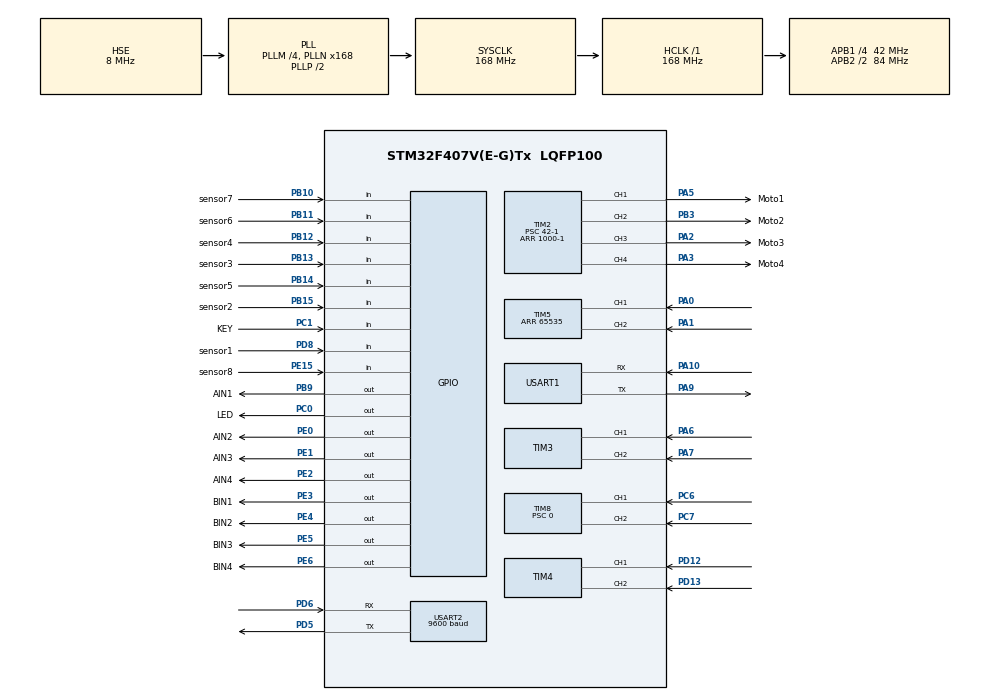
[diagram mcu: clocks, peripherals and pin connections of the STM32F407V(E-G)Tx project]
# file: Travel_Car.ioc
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Mcu.Family=STM32F4
Mcu.Name=STM32F407V(E-G)Tx
Mcu.Package=LQFP100
NVIC.PriorityGroup=NVIC_PRIORITYGROUP_4
NVIC.TIM1_TRG_COM_TIM11_IRQn=true\:2\:0\:true\:false\:true\:true\:true
NVIC.TIM1_UP_TIM10_IRQn=true\:2\:0\:true\:false\:true\:true\:true
NVIC.TIM2_IRQn=true\:2\:0\:true\:false\:true\:true\:true
NVIC.TIM3_IRQn=true\:2\:0\:true\:false\:true\:true\:true
NVIC.TIM4_IRQn=true\:2\:0\:true\:false\:true\:true\:true
NVIC.TIM5_IRQn=true\:2\:0\:true\:false\:true\:true\:true
NVIC.TIM8_UP_TIM13_IRQn=true\:2\:0\:true\:false\:true\:true\:true
NVIC.USART1_IRQn=true\:2\:0\:true\:false\:true\:true\:true
NVIC.USART2_IRQn=true\:0\:0\:false\:false\:true\:true\:true
PA0-WKUP.Signal=S_TIM5_CH1
PA1.Signal=S_TIM5_CH2
PA10.Mode=Asynchronous
PA10.Signal=USART1_RX
PA13.Mode=Serial_Wire
PA13.Signal=SYS_JTMS-SWDIO
PA14.Mode=Serial_Wire
PA14.Signal=SYS_JTCK-SWCLK
PA2.GPIO_Label=Moto3
PA2.Signal=S_TIM2_CH3
PA3.GPIO_Label=Moto4
PA3.Signal=S_TIM2_CH4
PA5.GPIO_Label=Moto1
PA5.Signal=S_TIM2_CH1_ETR
PA6.Signal=S_TIM3_CH1
PA7.Signal=S_TIM3_CH2
PA9.Mode=Asynchronous
PA9.Signal=USART1_TX
PB10.GPIO_Label=sensor7
PB10.Signal=GPIO_Input
PB11.GPIO_Label=sensor6
PB11.Signal=GPIO_Input
PB12.GPIO_Label=sensor4
PB12.Signal=GPIO_Input
PB13.GPIO_Label=sensor3
PB13.Signal=GPIO_Input
PB14.GPIO_Label=sensor5
PB14.Signal=GPIO_Input
PB15.GPIO_Label=sensor2
PB15.Signal=GPIO_Input
PB3.GPIO_Label=Moto2
PB3.Signal=S_TIM2_CH2
PB9.GPIO_Label=AIN1
PB9.Signal=GPIO_Output
PC0.GPIO_Label=LED
PC0.Signal=GPIO_Output
PC1.GPIO_Label=KEY
PC1.GPIO_PuPd=GPIO_PULLUP
PC1.Signal=GPIO_Input
PC6.Signal=S_TIM8_CH1
PC7.Signal=S_TIM8_CH2
PD12.Signal=S_TIM4_CH1
PD13.Signal=S_TIM4_CH2
PD5.Mode=Asynchronous
PD5.Signal=USART2_TX
PD6.Mode=Asynchronous
PD6.Signal=USART2_RX
PD8.GPIO_Label=sensor1
PD8.Signal=GPIO_Input
PE0.GPIO_Label=AIN2
PE0.Signal=GPIO_Output
PE1.GPIO_Label=AIN3
PE1.Signal=GPIO_Output
PE15.GPIO_Label=sensor8
PE15.Signal=GPIO_Input
PE2.GPIO_Label=AIN4
PE2.Signal=GPIO_Output
PE3.GPIO_Label=BIN1
PE3.Signal=GPIO_Output
PE4.GPIO_Label=BIN2
PE4.Signal=GPIO_Output
PE5.GPIO_Label=BIN3
PE5.Signal=GPIO_Output
PE6.GPIO_Label=BIN4
PE6.Signal=GPIO_Output
PH0-OSC_IN.Mode=HSE-External-Oscillator
PH0-OSC_IN.Signal=RCC_OSC_IN
PH1-OSC_OUT.Mode=HSE-External-Oscillator
PH1-OSC_OUT.Signal=RCC_OSC_OUT
ProjectManager.HeapSize=0x200
ProjectManager.StackSize=0x400
ProjectManager.TargetToolchain=MDK-ARM V5.27
RCC.48MHZClocksFreq_Value=84000000
RCC.AHBFreq_Value=168000000
RCC.APB1CLKDivider=RCC_HCLK_DIV4
RCC.APB1Freq_Value=42000000
RCC.APB1TimFreq_Value=84000000
RCC.APB2CLKDivider=RCC_HCLK_DIV2
RCC.APB2Freq_Value=84000000
RCC.APB2TimFreq_Value=168000000
RCC.CortexFreq_Value=168000000
RCC.HCLKFreq_Value=168000000
RCC.HSE_VALUE=8000000
RCC.HSI_VALUE=16000000
RCC.LSE_VALUE=32768
RCC.PLLM=4
RCC.PLLN=168
RCC.PLLSourceVirtual=RCC_PLLSOURCE_HSE
RCC.SYSCLKFreq_VALUE=168000000
RCC.SYSCLKSource=RCC_SYSCLKSOURCE_PLLCLK
RCC.VCOOutputFreq_Value=336000000
SH.S_TIM2_CH1_ETR.0=TIM2_CH1,PWM Generation1 CH1
SH.S_TIM2_CH2.0=TIM2_CH2,PWM Generation2 CH2
SH.S_TIM2_CH3.0=TIM2_CH3,PWM Generation3 CH3
SH.S_TIM2_CH4.0=TIM2_CH4,PWM Generation4 CH4
SH.S_TIM3_CH1.0=TIM3_CH1,Encoder_Interface
SH.S_TIM3_CH2.0=TIM3_CH2,Encoder_Interface
SH.S_TIM4_CH1.0=TIM4_CH1,Encoder_Interface
SH.S_TIM4_CH2.0=TIM4_CH2,Encoder_Interface
SH.S_TIM5_CH1.0=TIM5_CH1,Encoder_Interface
SH.S_TIM5_CH2.0=TIM5_CH2,Encoder_Interface
SH.S_TIM8_CH1.0=TIM8_CH1,Encoder_Interface
SH.S_TIM8_CH2.0=TIM8_CH2,Encoder_Interface
TIM10.AutoReloadPreload=TIM_AUTORELOAD_PRELOAD_ENABLE
TIM10.Period=100-1
TIM10.Prescaler=168-1
TIM11.AutoReloadPreload=TIM_AUTORELOAD_PRELOAD_ENABLE
TIM11.Period=100-1
TIM11.Prescaler=168-1
TIM2.AutoReloadPreload=TIM_AUTORELOAD_PRELOAD_ENABLE
TIM2.Channel-PWM\ Generation1\ CH1=TIM_CHANNEL_1
TIM2.Channel-PWM\ Generation2\ CH2=TIM_CHANNEL_2
TIM2.Channel-PWM\ Generation3\ CH3=TIM_CHANNEL_3
TIM2.Channel-PWM\ Generation4\ CH4=TIM_CHANNEL_4
TIM2.Period=1000-1
TIM2.Prescaler=42-1
TIM3.AutoReloadPreload=TIM_AUTORELOAD_PRELOAD_ENABLE
TIM3.EncoderMode=TIM_ENCODERMODE_TI12
TIM4.AutoReloadPreload=TIM_AUTORELOAD_PRELOAD_ENABLE
TIM4.EncoderMode=TIM_ENCODERMODE_TI12
TIM5.AutoReloadPreload=TIM_AUTORELOAD_PRELOAD_ENABLE
TIM5.EncoderMode=TIM_ENCODERMODE_TI12
TIM5.Period=65535
TIM8.AutoReloadPreload=TIM_AUTORELOAD_PRELOAD_ENABLE
TIM8.EncoderMode=TIM_ENCODERMODE_TI12
TIM8.Period=65535
TIM8.Prescaler=0
USART1.VirtualMode=VM_ASYNC
USART2.BaudRate=9600
USART2.VirtualMode=VM_ASYNC
VP_TIM10_VS_ClockSourceINT.Mode=Enable_Timer
VP_TIM11_VS_ClockSourceINT.Mode=Enable_Timer
VP_TIM2_VS_ClockSourceINT.Mode=Internal
board=custom

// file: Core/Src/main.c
/* USER CODE BEGIN Header */
/**
  ******************************************************************************
  * @file           : main.c
  * @brief          : Main program body
  ******************************************************************************
  * @attention
  *
  * <h2><center>&copy; Copyright (c) 2020 STMicroelectronics.
  * All rights reserved.</center></h2>
  *
  * This software component is licensed by ST under BSD 3-Clause license,
  * the "License"; You may not use this file except in compliance with the
  * License. You may obtain a copy of the License at:
  *                        opensource.org/licenses/BSD-3-Clause
  *
  ******************************************************************************
  */
/* USER CODE END Header */
#include "main.h"
#include "tim.h"
#include "usart.h"
#include "gpio.h"

/* USER CODE BEGIN Includes */
#include <string.h>
#include <stdio.h>
#include <stdint.h>
#include <stdlib.h>
#include <math.h>
#include "led.h"
#include "motor.h"
#include "encoder.h"
#include "pid.h"
#include "printf.h"
#include "key.h"
#include "control.h"
#include "JY901.h"

#include "DataScope_DP.h"

/* USER CODE END Includes */

/* USER CODE BEGIN PD */
#define SPEED 80
/* USER CODE END PD */

/* USER CODE BEGIN PV */
//int Sensor_Value;
int Temp_Value[2]={0};  //8路传感器返回值

int Move_Flag = 0;
int Encoder1,Encoder2,Encoder3,Encoder4;
int moto1,moto2,moto3,moto4;
int Target_L = 80,Target_R = 80;//,Target_C = 80,Target_D = 80; //满辐大概180
int Target_Speed = 50;
int Sensor[8]={0};
int Zhijiao_Flag = 0;   //设定直角程序  1->是直角程序  小灯熄灭
float Roll_Value;
int PoState = 0;
int Encoder_State = 1;

/*---------------------------------陀螺仪------------------------------*/
char ACCCALSW[5] = {0XFF,0XAA,0X01,0X01,0X00};//进入加速度校准模式
char SAVACALSW[5]= {0XFF,0XAA,0X00,0X00,0X00};//保存当前配置

extern struct STime		stcTime;
extern struct SAcc 		stcAcc;
extern struct SGyro 		stcGyro;
extern struct SAngle 	stcAngle;
extern struct SMag 		stcMag;
extern struct SDStatus stcDStatus;
extern struct SPress 	stcPress;
extern struct SLonLat 	stcLonLat;
extern struct SGPSV 		stcGPSV;
extern struct SQ       stcQ;
unsigned char TxBuffer_T;
/*---------------------------------陀螺仪------------------------------*/

/* USER CODE END PV */

void SystemClock_Config(void);

/* USER CODE BEGIN 0 */

/*-------------------------上位机---------------------------*/

void Data_Send()
{
	int Send_Count;
	DataScope_Get_Channel_Data(Encoder1, 1 );
	DataScope_Get_Channel_Data(Encoder2, 2 );
	DataScope_Get_Channel_Data(Encoder3, 3 );
	DataScope_Get_Channel_Data( Encoder4 , 4 );
	DataScope_Get_Channel_Data(0, 5 );
	DataScope_Get_Channel_Data(0 , 6 );
	DataScope_Get_Channel_Data(0, 7 );
	DataScope_Get_Channel_Data( 0, 8 );
	DataScope_Get_Channel_Data(0, 9 );
	DataScope_Get_Channel_Data( 0 , 10);
	Send_Count = DataScope_Data_Generate(10);
	for(int i = 0 ; i < Send_Count; i++)
	{
		while((USART1->SR&0X40)==0);
		USART1->DR = DataScope_OutPut_Buffer[i];
	}
}

/* USER CODE END 0 */

int main(void)
{

  /* MCU Configuration--------------------------------------------------------*/

  /* Reset of all peripherals, Initializes the Flash interface and the Systick. */
  HAL_Init();

  /* Configure the system clock */
  SystemClock_Config();

  /* Initialize all configured peripherals */
  MX_GPIO_Init();
  MX_USART1_UART_Init();
  MX_USART2_UART_Init();
  MX_TIM2_Init();
  MX_TIM3_Init();
  MX_TIM8_Init();
  MX_TIM4_Init();
  MX_TIM5_Init();
  MX_TIM10_Init();
  MX_TIM11_Init();
  /* USER CODE BEGIN 2 */
	HAL_TIM_Base_Start_IT(&htim10);
	HAL_TIM_Base_Start_IT(&htim11);
//	Sensor_Init();
	Motor_Start();
	Encoder_start();
	HAL_UART_Receive_IT(&huart2,&TxBuffer_T,1);

	while(!KeyState())
	{
		if(Encoder4 > 20)
		{
			Zhijiao_Flag ++;
			HAL_GPIO_TogglePin(LED_GPIO_Port,LED_Pin);
			if(Zhijiao_Flag > 1)
				Zhijiao_Flag = 0;
		}
	}

  /* USER CODE END 2 */

  /* Infinite loop */
  /* USER CODE BEGIN WHILE */

	Move_Flag = 1;

  while (1)
  {
		Sensor_Get();
		HAL_Delay(2);
		if(Zhijiao_Flag == 0)
		{
			if(PoState == 0)
				track_zhixian_PID();
			else if(PoState == 1)
				track_zhixian_PID_Po();
		}
		else
		{
			if(Zhijiao_Detect())
			{
				Encoder_State = 0;
				Target_L = Target_R = 50;

				HAL_Delay(10);
				while(1)
				{
//					Move_Flag = 0;
					HAL_Delay(2);
					Target_L = -50;
					Target_R = 50;
					Sensor_Get();
					if(Sensor[3]==0 || Sensor[4]==0 || Sensor[5]==0 || Sensor[6]==0 || Sensor[7]==0)
					{
//						Target_L = Target_R = 50;
//						HAL_Delay(5);
						break;
					}

				}
			}
//			track_zhixian_PID();
		}
		XianFu();
//		if(Roll_Value < -15 || Roll_Value > 15)
//		{
////			Target_Speed = 50;
//			track_zhixian_PID();
//		}
//		else
//		{
//			Target_Speed = SPEED;
//			track_zhixian_PID();
//		}

//		Set_Pwm(0,0,400,0);

//		HAL_Delay(5);

		/*-----------------------陀螺仪测试---------------------*/
//		HAL_Delay(1000);
//		int i=0;
////		Led_Flash(5);
//		i++;
//		if(i>20)
//		{
//			i = 0;
//			printf("正在进行加速度校准\r\n");
//			sendcmd(ACCCALSW);HAL_Delay(100);//等待模块内部自动校准好，模块内部会自动计算需要一定的时间
//			sendcmd(SAVACALSW);HAL_Delay(100);//保存当前配置
//			printf("加速度校准完成\r\n");
//		}
//		//输出加速度
//		//串口接受到的数据已经拷贝到对应的结构体的变量中了，根据说明书的协议，以加速度为例 stcAcc.a[0]/32768*16就是X轴的加速度，
//		printf("Acc:%.3f %.3f %.3f\r\n",(float)stcAcc.a[0]/32768*16,(float)stcAcc.a[1]/32768*16,(float)stcAcc.a[2]/32768*16);
//			HAL_Delay(10);
//		//输出角速度
//		printf("Gyro:%.3f %.3f %.3f\r\n",(float)stcGyro.w[0]/32768*2000,(float)stcGyro.w[1]/32768*2000,(float)stcGyro.w[2]/32768*2000);
//			HAL_Delay(10);
//		//输出角度
//		printf("Angle:%.3f %.3f %.3f\r\n",(float)stcAngle.Angle[0]/32768*180,(float)stcAngle.Angle[1]/32768*180,(float)stcAngle.Angle[2]/32768*180);
//			HAL_Delay(10);
//		printf("\r\n\r\n");

    /* USER CODE END WHILE */

  }
}

void SystemClock_Config(void)
{
  RCC_OscInitTypeDef RCC_OscInitStruct = {0};
  RCC_ClkInitTypeDef RCC_ClkInitStruct = {0};

  /** Configure the main internal regulator output voltage
  */
  __HAL_RCC_PWR_CLK_ENABLE();
  __HAL_PWR_VOLTAGESCALING_CONFIG(PWR_REGULATOR_VOLTAGE_SCALE1);
  /** Initializes the RCC Oscillators according to the specified parameters
  * in the RCC_OscInitTypeDef structure.
  */
  RCC_OscInitStruct.OscillatorType = RCC_OSCILLATORTYPE_HSE;
  RCC_OscInitStruct.HSEState = RCC_HSE_ON;
  RCC_OscInitStruct.PLL.PLLState = RCC_PLL_ON;
  RCC_OscInitStruct.PLL.PLLSource = RCC_PLLSOURCE_HSE;
  RCC_OscInitStruct.PLL.PLLM = 4;
  RCC_OscInitStruct.PLL.PLLN = 168;
  RCC_OscInitStruct.PLL.PLLP = RCC_PLLP_DIV2;
  RCC_OscInitStruct.PLL.PLLQ = 4;
  if (HAL_RCC_OscConfig(&RCC_OscInitStruct) != HAL_OK)
  {
    Error_Handler();
  }
  /** Initializes the CPU, AHB and APB buses clocks
  */
  RCC_ClkInitStruct.ClockType = RCC_CLOCKTYPE_HCLK|RCC_CLOCKTYPE_SYSCLK
                              |RCC_CLOCKTYPE_PCLK1|RCC_CLOCKTYPE_PCLK2;
  RCC_ClkInitStruct.SYSCLKSource = RCC_SYSCLKSOURCE_PLLCLK;
  RCC_ClkInitStruct.AHBCLKDivider = RCC_SYSCLK_DIV1;
  RCC_ClkInitStruct.APB1CLKDivider = RCC_HCLK_DIV4;
  RCC_ClkInitStruct.APB2CLKDivider = RCC_HCLK_DIV2;

  if (HAL_RCC_ClockConfig(&RCC_ClkInitStruct, FLASH_LATENCY_5) != HAL_OK)
  {
    Error_Handler();
  }
}

/* USER CODE BEGIN 4 */
void HAL_TIM_PeriodElapsedCallback(TIM_HandleTypeDef *htim)
{
	static int Tim_Delay=0;  //TIM10
	static int Tim_Delay11=0;

	if(htim->Instance == TIM11)   //0.1ms
	{
		Tim_Delay11++;
		if(Tim_Delay11>=100)
		{
			Tim_Delay11=0;

//			Sensor_Get();
			/*------------------------------陀螺仪-------------------------------------*/
			Roll_Value = (float)stcAngle.Angle[0]/32768*180;  //陀螺仪俯仰角
			if(Roll_Value < -15 || Roll_Value > 15)
			{
				Target_Speed = 50;
				PoState = 1;
			}
			else
			{
				PoState = 0;
				Target_Speed = SPEED;
			}

		}
	}

	if(htim->Instance == TIM10)   //0.1ms
	{
		Tim_Delay++;
		if(Tim_Delay >= 100) //100->10ms
		{
			Tim_Delay = 0;

			if(Encoder_State == 1)
			{
				Encoder1 = Read_Encoder(3);
				Encoder2 = Read_Encoder(4);
				Encoder3 = Read_Encoder(5);
				Encoder4 = Read_Encoder(8);
			}

			if(Move_Flag == 1)
			{
				moto1 = Incremental_PI_A(Encoder1,Target_L);
				moto2 = Incremental_PI_B(Encoder2,Target_L);
				moto3 = Incremental_PI_C(Encoder3,Target_R);
				moto4 = Incremental_PI_D(Encoder4,Target_R);
				Set_Pwm(moto1, moto2, moto3, moto4);
				Led_Flash(100);
			}
			else
			{
				Set_Pwm(0,0,0,0);
			}

		}
	}
}

void HAL_UART_RxCpltCallback(UART_HandleTypeDef *huart)
{
	CopeSerial2Data(TxBuffer_T);//处理数据
	HAL_UART_Receive_IT(&huart2,&TxBuffer_T,1);
}

/* USER CODE END 4 */

void Error_Handler(void)
{
}

/************************ (C) COPYRIGHT STMicroelectronics *****END OF FILE****/
